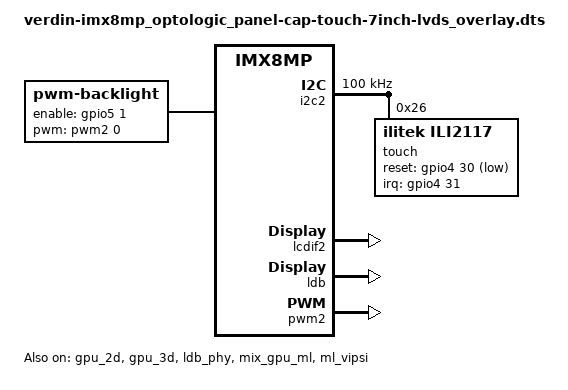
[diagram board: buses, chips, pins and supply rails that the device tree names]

// SPDX-License-Identifier: GPL-2.0-or-later OR MIT
/*
 * Copyright © 2024 TecInvent
 * Author: Kevin Detta <kevin.detta@tecinvent.ch>
 * Author: Dina Gomes Dias <dina.gomes@tecinvent.ch>
 */

// Verdin iMX8M Plus single-channel LVDS for 7 inch OPTO Logic display
// Extends verdin-imx8mp_panel-cap-touch-10inch-lvds_overlay.dts

/dts-v1/;
/plugin/;

#include <dt-bindings/gpio/gpio.h>
#include <dt-bindings/interrupt-controller/irq.h>
#include <dt-bindings/pwm/pwm.h>
#include "imx8mp-pinfunc.h"

/ {
	compatible = "toradex,verdin-imx8mp";
};

&{/} {
	backlight: backlight {
		compatible = "pwm-backlight";
		pinctrl-names = "default";
		pinctrl-0 = <&pinctrl_i2s_2_d_out_dsi_1_bkl_en>;
		brightness-levels = <0 45 63 88 119 158 203 255>;
		default-brightness-level = <4>;
		/* Verdin I2S_2_D_OUT as GPIO (SODIMM 46) */
		enable-gpios = <&gpio5 1 GPIO_ACTIVE_HIGH>;
		/* Verdin PWM_2 (SODIMM 16) */
		pwms = <&pwm2 0 6666667 0>;
		status = "okay";
	};

	panel_dpi: panel_dpi { /*name to keep the compatibilty with colibri panel*/
		compatible = "panel-lvds";
		backlight = <&backlight>;
		data-mapping = "vesa-24";
		status = "disable";
		port {
			panel_lvds_native_in: endpoint {
				remote-endpoint = <&lvds_out>;
			};
		};
	};
};

&gpu_2d {
	status = "okay";
};

&gpu_3d {
	status = "okay";
};

/* Verdin I2C_2_DSI */
&i2c2 {
	#address-cells = <1>;
	#size-cells = <0>;
	status = "okay";
	clock-frequency = <100000>;
	touch@26 {
		compatible = "ilitek,ili2117";
		reg = <0x26>;
		pinctrl-names = "default";
		interrupt-parent = <&gpio4>;
		interrupts = <31 IRQ_TYPE_EDGE_RISING>;
		reset-gpios = <&gpio4 30 GPIO_ACTIVE_LOW>;
        status = "okay";
	};
};

&lcdif2 {
	status = "okay";
};

&ldb {
	status = "okay";

	lvds-channel@0 {
		fsl,data-mapping = "spwg";
		fsl,data-width = <24>;
		status = "okay";

		port@1 {
			reg = <1>;

			lvds_out: endpoint {
				remote-endpoint = <&panel_lvds_native_in>;
			};
		};
	};
};

&ldb_phy {
	status = "okay";
};

&mix_gpu_ml {
	status = "okay";
};

&ml_vipsi {
	status = "okay";
};

/* Verdin PWM_2 */
&pwm2 {
	status = "okay";
};

&iomuxc {
	pinctrl_i2s_2_d_in_gpio: gpio4io30grp {
		fsl,pins =
			<MX8MP_IOMUXC_SAI3_RXD__GPIO4_IO30 0x1c4>; /* SODIMM 48 */
	};

	pinctrl_i2s_2_sync_gpio: gpio4io31grp {
		fsl,pins =
			<MX8MP_IOMUXC_SAI3_TXFS__GPIO4_IO31 0x184>; /* SODIMM 44 */
	};
};

#include "display-scx7.dtsi"
